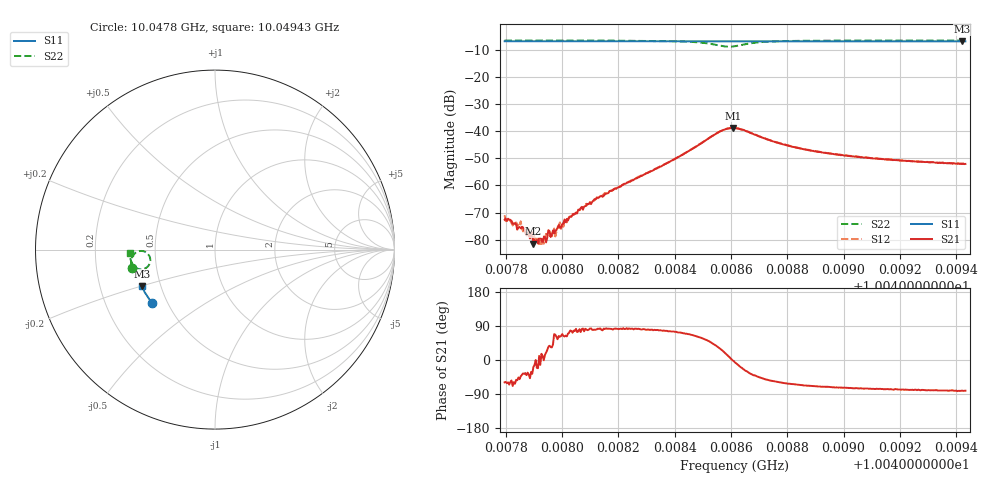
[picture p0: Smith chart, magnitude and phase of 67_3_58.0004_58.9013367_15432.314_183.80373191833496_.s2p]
#  HZ  S  RI  R  50.00
! Rohde & Schwarz Vector Network Analyzer
! Rohde-Schwarz,ZNB20-2Port,1311601062101988,3.16
! Created: UTC 3/21/2024, 12:53:15 AM
! freq[Hz]  re:S11  im:S11  re:S21  im:S21  re:S12  im:S12  re:S22  im:S22
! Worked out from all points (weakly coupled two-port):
!   401 points, 10.0478 GHz to 10.04943 GHz, reference 50 ohm
!   highest |S21| = -38.78 dB at 10.04861 GHz (marker M1); lowest = -81.5 dB at 10.0479 GHz (marker M2)
!   lowest |S11| = -6.8 dB at 10.04942 GHz (marker M3), VSWR 2.68, Z = 19.5 - j10.1 ohm
!   |S11| at or under -10 dB: nowhere
!   |S22| runs from -8.8 to -6.5 dB; largest |S21 - S12| = 0.00092
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1.0047796e10  -0.3518 -0.2961  0.00012 -0.0002  0.000153 -0.000235  -0.4636 -0.1042
1.0047817e10  -0.3525 -0.295  0.000124 -0.000196  0.000134 -0.000177  -0.4639 -0.1025
1.0047845e10  -0.3537 -0.2934  0.000116 -0.000122  7.16e-05 -0.000154  -0.4643 -0.1004
1.0047858e10  -0.3543 -0.2928  0.000134 -0.00011  0.000116 -0.000117  -0.4646 -0.0995
1.0047878e10  -0.3551 -0.2917  0.000111 -7.39e-05  0.000133 -7.22e-05  -0.4646 -0.0976
1.0047899e10  -0.3558 -0.2907  8.01e-05 -2.66e-05  9.18e-05 -3.62e-05  -0.4649 -0.096
1.0047907e10  -0.3563 -0.2902  9.22e-05 -1.92e-07  0.000107 -1.06e-05  -0.465 -0.0953
1.0047927e10  -0.357 -0.289  9.67e-05 2.84e-05  7.75e-05 8.2e-06  -0.4652 -0.0936
1.004794e10  -0.3576 -0.2884  0.000107 2.55e-05  9.62e-05 3.68e-05  -0.4655 -0.0925
1.0047972e10  -0.3589 -0.2867  4.82e-05 0.00012  9.92e-05 0.000126  -0.4657 -0.0897
1.004803e10  -0.3612 -0.2836  5.72e-05 0.000263  6.06e-05 0.00027  -0.4661 -0.0847
1.004807e10  -0.3628 -0.2815  5.68e-05 0.000393  7.13e-05 0.000397  -0.4665 -0.0808
1.0048132e10  -0.3652 -0.2781  8.54e-05 0.000595  3.94e-05 0.000608  -0.4667 -0.0746
1.0048345e10  -0.3733 -0.2664  0.000446 0.00212  0.000317 0.00216  -0.4628 -0.0466
1.0048557e10  -0.3802 -0.2541  0.0082 0.00519  0.00786 0.0057  -0.3848 -0.015
1.0048606e10  -0.3814 -0.252  0.0115 -0.000261  0.0115 0.000662  -0.3612 -0.0678
1.0048615e10  -0.3818 -0.2515  0.0114 -0.00127  0.0114 -0.000434  -0.364 -0.0779
1.0048717e10  -0.3859 -0.2464  0.00484 -0.0057  0.00529 -0.0054  -0.4341 -0.1053
1.0048889e10  -0.3919 -0.2365  0.0016 -0.00405  0.00187 -0.004  -0.4643 -0.0736
1.0049163e10  -0.4007 -0.2204  0.000653 -0.00293  0.000818 -0.00289  -0.4723 -0.0429
1.004942e10  -0.4082 -0.2051  0.000404 -0.00245  0.000522 -0.00248  -0.4742 -0.0215
1.0049433e10  -0.4087 -0.2045  0.000393 -0.00247  0.000533 -0.00246  -0.4744 -0.0207
